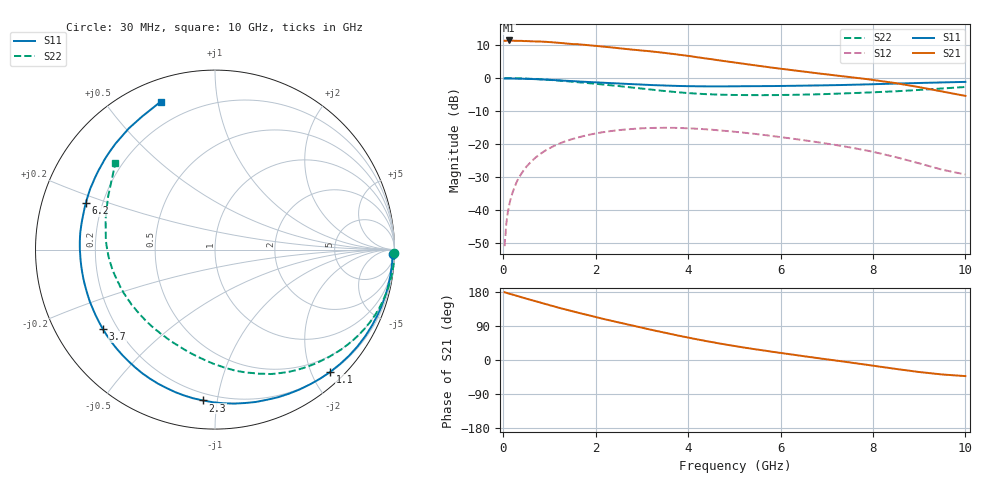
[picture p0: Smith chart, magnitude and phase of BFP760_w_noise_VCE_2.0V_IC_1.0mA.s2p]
! Infineon Technologies  Discrete & RF Semiconductors
! BFP760
! VCE =  2.0 V,  IC =  1.0 mA
! Common Emitter S-Parameters:  Nov 2012
# GHz  S  MA  R  50
!  f  S11  S21  S12  S22
! GHz  MAG  ANG  MAG  ANG  MAG  ANG  MAG  ANG
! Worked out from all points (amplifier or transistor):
!   99 points, 30 MHz to 10 GHz, reference 50 ohm
!   highest |S21| = 11.5 dB at 120 MHz (marker M1)
!   |S21| within 3 dB of that: start of sweep to 2.952 GHz
!   unconditionally stable (mu >= 1): 7.63 GHz to end of sweep
!   at 350 MHz: K = 0.04, MSG = 20.6 dB, |S12| = -30.0 dB
!   at 3.5 GHz: K = 0.28, MSG = 11.4 dB, |S12| = -15.1 dB
!   at 10 GHz: K = 2.23, MAG = 5.7 dB, |S12| = -29.3 dB
!   lowest NFmin = 0.56 dB at 900 MHz
!   S11 on the Smith chart (normalised r, x): 30 MHz: 28, -71; 1.1 GHz: 0.21, -2.30; 2.3 GHz: 0.16, -0.91; 3.7 GHz: 0.15, -0.31; 6.2 GHz: 0.14, +0.17; 10 GHz: 0.10, +0.69
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0.03  0.9904 -1.4  3.703 178.9  0.0028 86.7  1 -1.0
0.07  0.989 -3.0  3.716 177.2  0.0064 84.7  0.9992 -2.0
0.12  0.9885 -5.1  3.744 175.5  0.0107 85.7  0.9996 -3.4
0.25  0.986 -10.6  3.701 171.0  0.0225 82.4  0.9958 -7.1
0.45  0.9798 -19.2  3.66 163.7  0.0405 76.1  0.9882 -12.6
0.8  0.96 -34.1  3.604 151.7  0.0704 65.2  0.9628 -22.4
1.1  0.9364 -46.7  3.495 141.5  0.0934 55.9  0.9314 -30.7
1.3  0.9186 -54.9  3.401 134.8  0.1071 50.0  0.9078 -35.9
1.7  0.8849 -71.1  3.238 122.4  0.1299 39.1  0.8582 -46.0
2  0.8645 -82.9  3.098 113.5  0.1446 31.2  0.8216 -53.6
2.3  0.8431 -94.6  2.955 104.7  0.1561 23.3  0.7833 -61.1
2.9  0.805 -116.8  2.675 88.1  0.1714 8.9  0.7076 -75.5
3.4  0.7776 -134.8  2.464 74.5  0.1759 -2.5  0.648 -87.8
3.7  0.7657 -144.8  2.325 66.7  0.1759 -9.1  0.6185 -95.1
4.3  0.7517 -162.9  2.035 52.1  0.1687 -21.2  0.5763 -109.6
5.1  0.7538 178.1  1.695 35.1  0.1512 -34.8  0.5552 -126.7
6.2  0.7648 160.3  1.339 15.2  0.122 -49.1  0.5572 -148.6
6.7  0.7742 153.2  1.211 6.8  0.1091 -54.3  0.5671 -158.6
7.6  0.7964 139.5  1.018 -8.2  0.0863 -62.0  0.5951 -176.8
8.5  0.8285 125.5  0.84 -23.6  0.063 -67.0  0.6326 164.5
9  0.8453 118.8  0.731 -31.7  0.0508 -65.9  0.663 154.2
10  0.8785 110.1  0.538 -42.5  0.0344 -49.2  0.7351 139.0
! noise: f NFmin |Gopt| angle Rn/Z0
0.9  0.56  0.74  29  0.39
1.8  0.75  0.67  58  0.32
2.4  0.89  0.62  78  0.27
3.5  1.15  0.59  110  0.18
5.5  1.87  0.54  -168  0.1
8  3.1  0.66  -111  0.7
